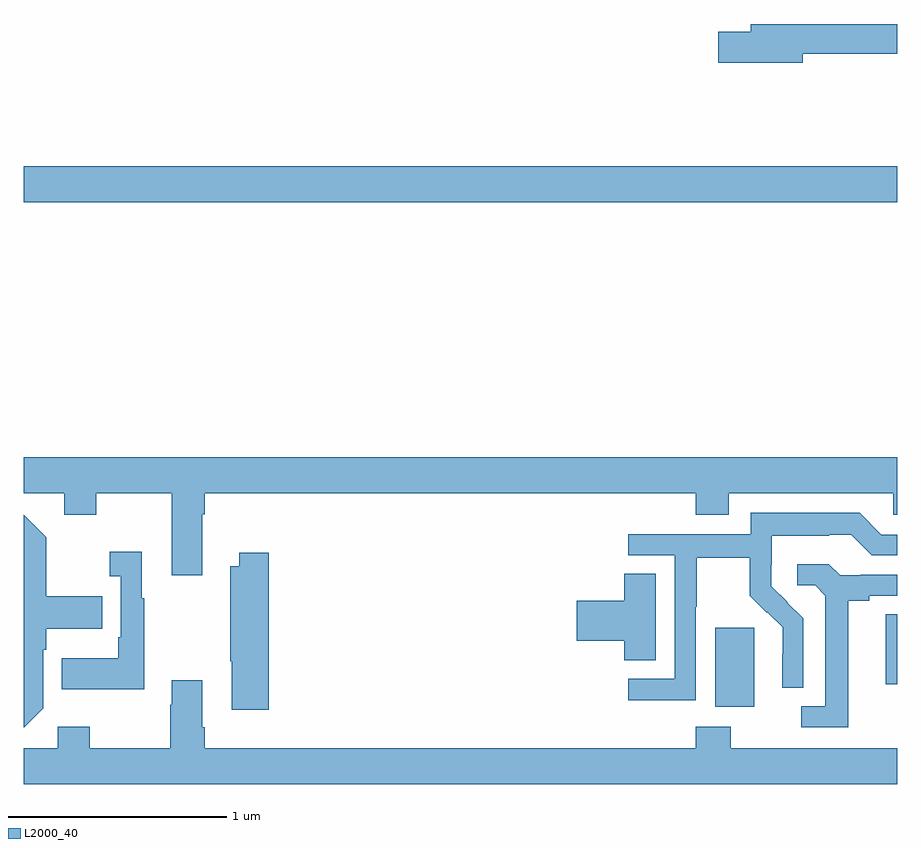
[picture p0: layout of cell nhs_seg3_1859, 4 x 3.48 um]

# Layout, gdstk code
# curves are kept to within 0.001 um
import gdstk
lib = gdstk.Library(unit=1e-6, precision=1e-09)
def R(c, l, rs):  # rectangles x0, y0, x1, y1
    for r in rs: c.add(gdstk.rectangle(r[:2], r[2:], *l))
def P(c, l, *ps):  # polygons
    for p in ps: c.add(gdstk.Polygon(p, *l))
L2000_40 = (2000, 40)

nhs_seg3_1859 = lib.new_cell('nhs_seg3_1859')
R(nhs_seg3_1859, L2000_40, [(210.167,697.274,210.346,697.635), (210.947,697.377,211,697.697), (207,699.584,211,699.748)])
P(nhs_seg3_1859, L2000_40, [(210.568,700.264),(211,700.264),(211,700.4),(210.329,700.4),(210.329,700.364),(210.18,700.364),(210.18,700.222),(210.568,700.222)],
  [(207.817,698.156),(207.83,698.156),(207.83,698.252),(210.077,698.252),(210.077,698.153),(210.229,698.153),(210.229,698.252),(210.981,698.252),(210.981,698.154),(211,698.154),(211,698.416),(207,698.416),(207,698.252),(207.185,698.252),(207.185,698.153),(207.333,698.153),(207.333,698.252),(207.677,698.252),(207.677,697.875),(207.817,697.875)],
  [(210.078,697.732),(210.081,697.732),(210.081,697.956),(210.325,697.956),(210.325,697.781),(210.402,697.704),(210.405,697.707),(210.476,697.637),(210.476,697.514),(210.474,697.514),(210.474,697.36),(210.57,697.36),(210.57,697.678),(210.424,697.826),(210.424,697.923),(210.426,697.923),(210.426,698.057),(210.689,698.057),(210.689,698.061),(210.789,698.061),(210.882,697.968),(211,697.968),(211,698.061),(210.927,698.061),(210.827,698.161),(210.33,698.161),(210.33,698.064),(209.769,698.064),(209.769,697.968),(209.982,697.968),(209.982,697.401),(209.769,697.401),(209.769,697.303),(210.078,697.303)],
  [(207.09,697.266),(207.09,697.535),(207.103,697.535),(207.103,697.631),(207.359,697.631),(207.359,697.779),(207.103,697.779),(207.103,698.051),(207,698.154),(207,697.179),(207.003,697.179)],
  [(207.553,697.771),(207.541,697.771),(207.541,697.984),(207.393,697.984),(207.393,697.871),(207.444,697.871),(207.444,697.591),(207.432,697.591),(207.432,697.495),(207.175,697.495),(207.175,697.355),(207.553,697.355)],
  [(208.121,697.978),(207.986,697.978),(207.986,697.918),(207.946,697.918),(207.946,697.483),(207.953,697.483),(207.953,697.26),(208.121,697.26)],
  [(210.775,697.76),(210.871,697.76),(210.871,697.782),(211,697.782),(211,697.878),(210.832,697.878),(210.832,697.875),(210.738,697.875),(210.686,697.927),(210.543,697.927),(210.543,697.83),(210.624,697.83),(210.671,697.783),(210.671,697.275),(210.561,697.275),(210.561,697.179),(210.775,697.179)],
  [(209.893,697.883),(209.75,697.883),(209.75,697.76),(209.532,697.76),(209.532,697.577),(209.75,697.577),(209.75,697.486),(209.893,697.486)],
  [(211,697.084),(210.237,697.084),(210.237,697.183),(210.077,697.183),(210.077,697.084),(207.83,697.084),(207.83,697.18),(207.817,697.18),(207.817,697.396),(207.677,697.396),(207.677,697.283),(207.67,697.283),(207.67,697.084),(207.303,697.084),(207.303,697.183),(207.156,697.183),(207.156,697.084),(207,697.084),(207,696.92),(211,696.92)])

lib.write_gds('nhs_seg3_1859.gds')
